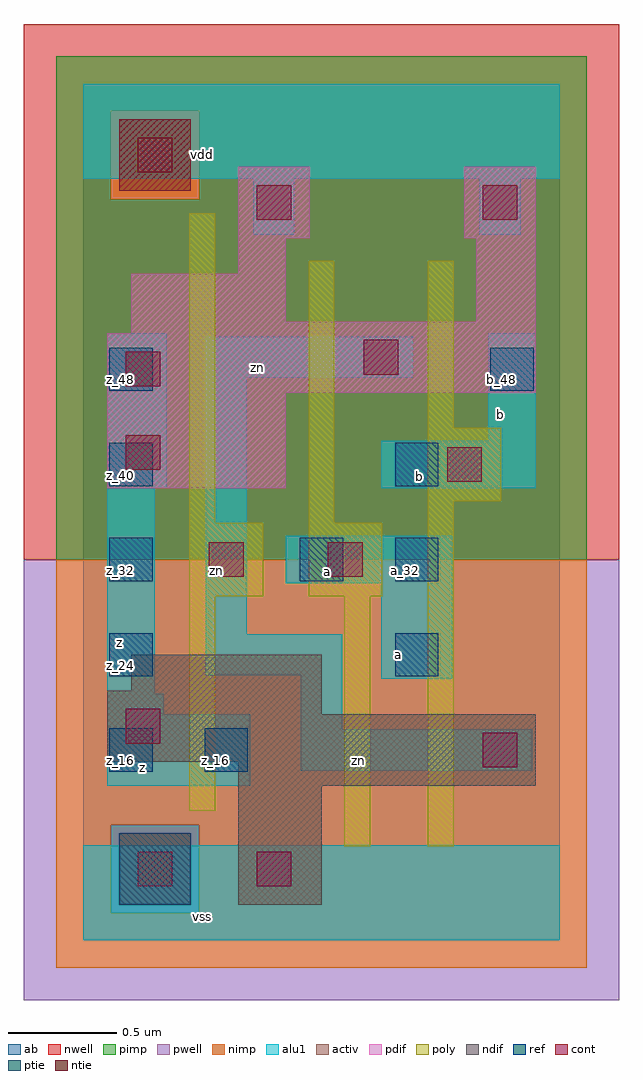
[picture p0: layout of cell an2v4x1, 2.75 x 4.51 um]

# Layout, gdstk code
import gdstk
lib = gdstk.Library(unit=1e-6, precision=2.5e-09)
def R(c, l, rs):  # rectangles x0, y0, x1, y1
    for r in rs: c.add(gdstk.rectangle(r[:2], r[2:], *l))
def A(c, l, x, y, w, h, nx, ny, dx, dy):  # array of equal rectangles
    R(c, l, [(x+i*dx, y+j*dy, x+i*dx+w, y+j*dy+h) for i in range(nx) for j in range(ny)])
ndif = (3, 0)
pdif = (4, 0)
ntie = (5, 0)
ptie = (6, 0)
ref = (24, 0)
cont = (25, 0)
pwell = (41, 0)
nwell = (42, 0)
activ = (43, 0)
pimp = (44, 0)
nimp = (45, 0)
poly = (46, 0)
alu1 = (49, 0)
ab = (63, 0)

an2v4x1 = lib.new_cell('an2v4x1')
R(an2v4x1, ndif, [(0.715,0.165,1.1,0.715), (0.715,0.715,2.09,0.825), (0.11,0.825,2.09,1.045), (0.11,1.045,1.1,1.155), (0.22,1.155,1.1,1.32)])
R(an2v4x1, pdif, [(0.11,2.09,0.935,2.53), (0.11,2.53,2.09,2.805), (0.22,2.805,2.09,2.86), (0.22,2.86,0.935,3.08), (1.815,2.86,2.09,3.245), (0.715,3.08,0.935,3.245), (0.715,3.245,1.045,3.575), (1.76,3.245,2.09,3.575)])
R(an2v4x1, ntie, [(0.165,3.465,0.495,3.795)])
R(an2v4x1, ptie, [(0.165,0.165,0.495,0.495)])
A(an2v4x1, ref, 0.12, 0.78, 0.2, 0.2, 1, 5, 0, 0.44)
A(an2v4x1, ref, 1.44, 1.22, 0.2, 0.2, 1, 3, 0, 0.44)
R(an2v4x1, ref, [(0.56,0.78,0.76,0.98), (1,1.66,1.2,1.86), (1.88,2.54,2.08,2.74)])
R(an2v4x1, cont, [(0.25,0.25,0.41,0.41), (0.8,0.25,0.96,0.41), (1.845,0.8,2.005,0.96), (0.195,0.91,0.355,1.07), (0.58,1.68,0.74,1.84), (1.13,1.68,1.29,1.84), (1.68,2.12,1.84,2.28), (0.195,2.175,0.355,2.335), (0.195,2.56,0.355,2.72), (1.295,2.615,1.455,2.775), (0.8,3.33,0.96,3.49), (1.845,3.33,2.005,3.49), (0.25,3.55,0.41,3.71)])
R(an2v4x1, pwell, [(-0.275,-0.275,2.475,1.76)])
R(an2v4x1, nwell, [(-0.275,1.76,2.475,4.235)])
R(an2v4x1, activ, [(0.165,0.165,0.495,0.495), (0.715,0.165,1.1,0.715), (0.715,0.715,2.09,0.825), (0.11,0.825,2.09,1.045), (0.11,1.045,1.1,1.155), (0.22,1.155,1.1,1.32), (0.11,2.09,0.935,2.53), (0.11,2.53,2.09,2.805), (0.22,2.805,2.09,2.86), (0.22,2.86,0.935,3.08), (1.815,2.86,2.09,3.245), (0.715,3.08,0.935,3.245), (0.715,3.245,1.045,3.575), (1.76,3.245,2.09,3.575), (0.165,3.465,0.495,3.795)])
R(an2v4x1, pimp, [(0.125,0.125,0.535,0.535), (-0.125,1.76,2.325,3.425), (-0.125,3.425,0.125,3.835), (0.535,3.425,2.325,3.835), (-0.125,3.835,2.325,4.085)])
R(an2v4x1, nimp, [(-0.125,-0.125,2.325,0.125), (-0.125,0.125,0.125,0.535), (0.535,0.125,2.325,0.535), (-0.125,0.535,2.325,1.76), (0.125,3.425,0.535,3.835)])
R(an2v4x1, poly, [(1.205,0.435,1.325,1.59), (1.59,0.435,1.71,2.03), (0.49,0.6,0.61,1.59), (0.49,1.59,0.83,1.93), (1.04,1.59,1.38,1.93), (0.49,1.93,0.61,3.36), (1.04,1.93,1.16,3.14), (1.59,2.03,1.93,2.37), (1.59,2.37,1.71,3.14)])
R(an2v4x1, alu1, [(0,0,2.2,0.44), (0.11,0.715,0.77,1.045), (1.005,0.785,2.075,0.975), (1.005,0.975,1.195,1.225), (0.11,1.045,0.37,1.14), (0.11,1.14,0.33,2.09), (1.375,1.21,1.705,1.65), (0.565,1.225,1.195,1.415), (0.565,1.415,0.755,2.6), (0.935,1.65,1.705,1.87), (0.11,2.09,0.385,2.805), (1.375,2.09,2.09,2.31), (1.87,2.31,2.09,2.805), (0.565,2.6,1.525,2.79), (0.785,3.26,0.975,3.52), (1.83,3.26,2.02,3.52), (0,3.52,2.2,3.96)])
R(an2v4x1, ab, [(0,0,2.2,3.96)])
an2v4x1.add(gdstk.Label('vss', (0.55,0.11), layer=49, texttype=0))
an2v4x1.add(gdstk.Label('zn', (1.2725,0.8325), layer=49, texttype=0))
an2v4x1.add(gdstk.Label('a', (1.4575,1.32), layer=49, texttype=0))
an2v4x1.add(gdstk.Label('z', (0.275,0.7975), layer=49, texttype=0))
an2v4x1.add(gdstk.Label('a', (1.1275,1.705), layer=49, texttype=0))
an2v4x1.add(gdstk.Label('b', (1.5525,2.145), layer=49, texttype=0))
an2v4x1.add(gdstk.Label('b', (1.925,2.4325), layer=49, texttype=0))
an2v4x1.add(gdstk.Label('zn', (0.6125,1.71), layer=49, texttype=0))
an2v4x1.add(gdstk.Label('z', (0.165,1.3775), layer=49, texttype=0))
an2v4x1.add(gdstk.Label('zn', (0.805,2.6475), layer=49, texttype=0))
an2v4x1.add(gdstk.Label('vdd', (0.55,3.63), layer=49, texttype=0))
an2v4x1.add(gdstk.Label('z_16', (0.61,0.83), layer=24, texttype=0))
an2v4x1.add(gdstk.Label('a_32', (1.05,1.71), layer=24, texttype=0))
an2v4x1.add(gdstk.Label('a_24', (1.49,1.27), layer=24, texttype=0))
an2v4x1.add(gdstk.Label('a_32', (1.49,1.71), layer=24, texttype=0))
an2v4x1.add(gdstk.Label('b_40', (1.49,2.15), layer=24, texttype=0))
an2v4x1.add(gdstk.Label('b_48', (1.93,2.59), layer=24, texttype=0))
an2v4x1.add(gdstk.Label('z_16', (0.17,0.83), layer=24, texttype=0))
an2v4x1.add(gdstk.Label('z_24', (0.17,1.27), layer=24, texttype=0))
an2v4x1.add(gdstk.Label('z_32', (0.17,1.71), layer=24, texttype=0))
an2v4x1.add(gdstk.Label('z_40', (0.17,2.15), layer=24, texttype=0))
an2v4x1.add(gdstk.Label('z_48', (0.17,2.59), layer=24, texttype=0))

lib.write_gds('an2v4x1.gds')
